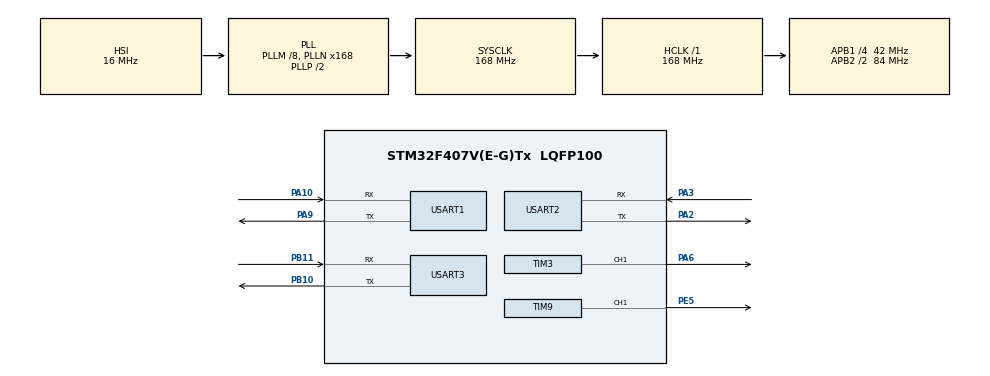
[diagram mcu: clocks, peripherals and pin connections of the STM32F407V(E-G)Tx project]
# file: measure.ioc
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Mcu.Family=STM32F4
Mcu.Name=STM32F407V(E-G)Tx
Mcu.Package=LQFP100
NVIC.PriorityGroup=NVIC_PRIORITYGROUP_2
NVIC.TIM1_UP_TIM10_IRQn=true\:3\:0\:true\:false\:true\:true\:true
NVIC.USART1_IRQn=true\:1\:0\:true\:false\:true\:true\:true
NVIC.USART2_IRQn=true\:2\:0\:true\:false\:true\:true\:true
PA10.Mode=Asynchronous
PA10.Signal=USART1_RX
PA2.Mode=Asynchronous
PA2.Signal=USART2_TX
PA3.Mode=Asynchronous
PA3.Signal=USART2_RX
PA6.Signal=S_TIM3_CH1
PA9.Mode=Asynchronous
PA9.Signal=USART1_TX
PB10.Mode=Asynchronous
PB10.Signal=USART3_TX
PB11.Mode=Asynchronous
PB11.Signal=USART3_RX
PE5.Signal=S_TIM9_CH1
PH0-OSC_IN.Mode=HSE-External-Oscillator
PH0-OSC_IN.Signal=RCC_OSC_IN
PH1-OSC_OUT.Mode=HSE-External-Oscillator
PH1-OSC_OUT.Signal=RCC_OSC_OUT
ProjectManager.HeapSize=0x200
ProjectManager.StackSize=0x400
ProjectManager.TargetToolchain=MDK-ARM V5.27
RCC.48MHZClocksFreq_Value=84000000
RCC.AHBFreq_Value=168000000
RCC.APB1CLKDivider=RCC_HCLK_DIV4
RCC.APB1Freq_Value=42000000
RCC.APB1TimFreq_Value=84000000
RCC.APB2CLKDivider=RCC_HCLK_DIV2
RCC.APB2Freq_Value=84000000
RCC.APB2TimFreq_Value=168000000
RCC.CortexFreq_Value=168000000
RCC.HCLKFreq_Value=168000000
RCC.HSE_VALUE=25000000
RCC.HSI_VALUE=16000000
RCC.LSE_VALUE=32768
RCC.PLLM=8
RCC.PLLN=168
RCC.SYSCLKFreq_VALUE=168000000
RCC.SYSCLKSource=RCC_SYSCLKSOURCE_PLLCLK
RCC.VCOOutputFreq_Value=336000000
SH.S_TIM3_CH1.0=TIM3_CH1,PWM Generation1 CH1
SH.S_TIM9_CH1.0=TIM9_CH1,PWM Generation1 CH1
TIM1.AutoReloadPreload=TIM_AUTORELOAD_PRELOAD_ENABLE
TIM1.Period=10000
TIM1.Prescaler=168-1
TIM3.AutoReloadPreload=TIM_AUTORELOAD_PRELOAD_ENABLE
TIM3.Channel-PWM\ Generation1\ CH1=TIM_CHANNEL_1
TIM3.Period=10000-1
TIM3.Prescaler=84-1
TIM9.AutoReloadPreload=TIM_AUTORELOAD_PRELOAD_ENABLE
TIM9.Channel-PWM\ Generation1\ CH1=TIM_CHANNEL_1
TIM9.Period=10000-1
TIM9.Prescaler=168-1
USART1.VirtualMode=VM_ASYNC
USART2.VirtualMode=VM_ASYNC
USART3.VirtualMode=VM_ASYNC
VP_TIM1_VS_ClockSourceINT.Mode=Internal
VP_TIM3_VS_ClockSourceINT.Mode=Internal
VP_TIM9_VS_ClockSourceINT.Mode=Internal
board=custom

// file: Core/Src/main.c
/* USER CODE BEGIN Header */
/**
  ******************************************************************************
  * @file           : main.c
  * @brief          : Main program body
  ******************************************************************************
  * @attention
  *
  * <h2><center>&copy; Copyright (c) 2021 STMicroelectronics.
  * All rights reserved.</center></h2>
  *
  * This software component is licensed by ST under BSD 3-Clause license,
  * the "License"; You may not use this file except in compliance with the
  * License. You may obtain a copy of the License at:
  *                        opensource.org/licenses/BSD-3-Clause
  *
  ******************************************************************************
  */
/* USER CODE END Header */
#include "main.h"
#include "tim.h"
#include "usart.h"
#include "gpio.h"

/* USER CODE BEGIN Includes */
#include "servo.h"
/* USER CODE END Includes */

/* USER CODE BEGIN PV */
uint8_t UART1_RxBuffer, UART2_RxBuffer;
uint8_t buffer1[9] = "\0", buffer2[10] = "\0";
uint8_t Target_Flag = 0;
uint8_t Real_x, Real_y;
uint8_t color;
uint8_t length;
uint8_t shape;
uint8_t end[3]= {0xff,0xff,0xff};
uint16_t dist;
/* USER CODE END PV */

void SystemClock_Config(void);

/* USER CODE BEGIN 0 */
/**
  * @brief  串口发送函数
  * @retval None
  */
#include "stdio.h"
#include "stdarg.h"
#include "string.h"

#define    TXBUF_SIZE_MAX    100

void uartx_printf(UART_HandleTypeDef huartx, const char *format, ...)
{
    va_list args;
    uint32_t length;
    uint8_t txbuf[TXBUF_SIZE_MAX] = {0};

    va_start(args, format);
    length = vsnprintf((char *)txbuf, sizeof(txbuf), (char *)format, args);
    va_end(args);
    HAL_UART_Transmit(&huartx, (uint8_t *)txbuf, length, HAL_MAX_DELAY);
    memset(txbuf, 0, TXBUF_SIZE_MAX);
};
/* USER CODE END 0 */

int main(void)
{

  /* MCU Configuration--------------------------------------------------------*/

  /* Reset of all peripherals, Initializes the Flash interface and the Systick. */
  HAL_Init();

  /* Configure the system clock */
  SystemClock_Config();

  /* Initialize all configured peripherals */
  MX_GPIO_Init();
  MX_TIM3_Init();
  MX_TIM9_Init();
  MX_USART1_UART_Init();
  MX_USART2_UART_Init();
  MX_TIM1_Init();
  MX_USART3_UART_Init();
  /* USER CODE BEGIN 2 */
  HAL_TIM_Base_Start_IT(&htim1); //开启定时器中断
  HAL_TIM_PWM_Start(&htim3, TIM_CHANNEL_1); //开启pwm
  HAL_TIM_PWM_Start(&htim9, TIM_CHANNEL_1); //开启pwm
  HAL_UART_Receive_IT(&huart1, (uint8_t*)&UART1_RxBuffer, 1); //开启串口中断,用于openmv
  HAL_UART_Receive_IT(&huart2, (uint8_t*)&UART2_RxBuffer, 1); //开启串口2中断用于激光测距

  PID_Init();
  Servo_Init(); //云台初始化，两自由度均为90°
  PID_Init(); //PID初始化
  /* USER CODE END 2 */

  /* Infinite loop */
  /* USER CODE BEGIN WHILE */
  while (1)
  {

//    if(Target_Flag){
//      Tim_SetPWM(3, 1, positionx_pid.output);
//      Tim_SetPWM(9, 1, positiony_pid.output);
//    }
    //DBG("hello!");
    //DBG("shape:%d length:%d color:%d x:%d y:%d", shape, length, color, Real_x, Real_y);
      uartx_printf(huart2, "t2.txt=\"%d\"", dist);
      HAL_UART_Transmit(&huart2,end,3,0xffff);
      uartx_printf(huart2, "t7.txt=\"%d\"", shape);
      HAL_UART_Transmit(&huart2,end,3,0xffff);
      uartx_printf(huart2, "t8.txt=\"%d\"", length);
      HAL_UART_Transmit(&huart2,end,3,0xffff);
      uartx_printf(huart3, "hellworld\r\n");

//    HAL_Delay(1000);
//    Tim_SetPWM(3, 1, 2340);
//    Tim_SetPWM(9, 1, 1500);
    /* USER CODE END WHILE */

  }
}

void SystemClock_Config(void)
{
  RCC_OscInitTypeDef RCC_OscInitStruct = {0};
  RCC_ClkInitTypeDef RCC_ClkInitStruct = {0};

  /** Configure the main internal regulator output voltage
  */
  __HAL_RCC_PWR_CLK_ENABLE();
  __HAL_PWR_VOLTAGESCALING_CONFIG(PWR_REGULATOR_VOLTAGE_SCALE1);
  /** Initializes the RCC Oscillators according to the specified parameters
  * in the RCC_OscInitTypeDef structure.
  */
  RCC_OscInitStruct.OscillatorType = RCC_OSCILLATORTYPE_HSI;
  RCC_OscInitStruct.HSIState = RCC_HSI_ON;
  RCC_OscInitStruct.HSICalibrationValue = RCC_HSICALIBRATION_DEFAULT;
  RCC_OscInitStruct.PLL.PLLState = RCC_PLL_ON;
  RCC_OscInitStruct.PLL.PLLSource = RCC_PLLSOURCE_HSI;
  RCC_OscInitStruct.PLL.PLLM = 8;
  RCC_OscInitStruct.PLL.PLLN = 168;
  RCC_OscInitStruct.PLL.PLLP = RCC_PLLP_DIV2;
  RCC_OscInitStruct.PLL.PLLQ = 4;
  if (HAL_RCC_OscConfig(&RCC_OscInitStruct) != HAL_OK)
  {
    Error_Handler();
  }
  /** Initializes the CPU, AHB and APB buses clocks
  */
  RCC_ClkInitStruct.ClockType = RCC_CLOCKTYPE_HCLK|RCC_CLOCKTYPE_SYSCLK
                              |RCC_CLOCKTYPE_PCLK1|RCC_CLOCKTYPE_PCLK2;
  RCC_ClkInitStruct.SYSCLKSource = RCC_SYSCLKSOURCE_PLLCLK;
  RCC_ClkInitStruct.AHBCLKDivider = RCC_SYSCLK_DIV1;
  RCC_ClkInitStruct.APB1CLKDivider = RCC_HCLK_DIV4;
  RCC_ClkInitStruct.APB2CLKDivider = RCC_HCLK_DIV2;

  if (HAL_RCC_ClockConfig(&RCC_ClkInitStruct, FLASH_LATENCY_5) != HAL_OK)
  {
    Error_Handler();
  }
}

/* USER CODE BEGIN 4 */

void HAL_UART_RxCpltCallback(UART_HandleTypeDef *huart)
{
  static uint8_t count = 0;
  static uint8_t count1 = 0;
  __HAL_UART_CLEAR_PEFLAG(huart);
  if(huart -> Instance == huart1.Instance) //如果是串口1
  {
   // DBG("hello!");
      if((count == 0) && (UART1_RxBuffer == 0xff))
      {
        count = 1;
        buffer1[0] = UART1_RxBuffer;
      }
      else if(count == 1)
      {
        buffer1[1] = UART1_RxBuffer;
        if(UART1_RxBuffer == 0) //没有检测到目标
          Target_Flag = 0;
        else
        {
          count = 2;               //有才加1
          Target_Flag = 1;
        }
      }
      else if(count == 2)
      {
        buffer1[2] = UART1_RxBuffer;
        count = 3;
      }
      else if(count == 3)
      {
          buffer1[3] = UART1_RxBuffer;
          count = 4;
      }
      else if(count == 4)
      {
          buffer1[4] = UART1_RxBuffer;
          count = 5;
      }
      else if(count == 5)
      {
          buffer1[5] = UART1_RxBuffer;
          count = 6;
      }
      else if(count == 6)
      {
          buffer1[6] = UART1_RxBuffer;
          count = 7;
      }
      else if((count == 7) && (UART1_RxBuffer == 0xfe))
      {
          count = 0;
          buffer1[7] = UART1_RxBuffer;
          Real_x = buffer1[2];
          Real_y = buffer1[3];
          color = buffer1[6];
          length = buffer1[4]<<8 | buffer1[5]; //物体边长的像素长度
          Target_Flag = 1;
          shape = buffer1[1];
          //HAL_UART_Transmit(&huart2, buffer1, 7, HAL_MAX_DELAY);
      }
      else{
         count = 0;
         Target_Flag =0;
      }
//        //加个数据处理
     //uartx_printf(huart2, "%x %x %x %x %x\r\n", 0xff, Real_x, Real_y, buffer1[5], 0xfe);
      HAL_UART_Receive_IT(&huart1, (uint8_t*)&UART1_RxBuffer, 1); //重新开启中断
   }
   uartx_printf(huart3, "here\r\n");

  /*串口2中断用于接收激光测距值*/
   if(huart -> Instance == huart2.Instance)
   {
     uartx_printf(huart3, "there\r\n");
     if(count1 == 0 && UART2_RxBuffer == 0x59)
     {
       count1 = 1;
       buffer2[0] = UART2_RxBuffer;
     }
     else if(count1 == 1 && UART2_RxBuffer == 0x59)
     {
       count1 = 2;
       buffer2[1] = UART2_RxBuffer;
     }
    else if(count1 == 2)
    {
       count1 = 3;
       buffer2[2] = UART2_RxBuffer;
    }
    else if(count1 == 3)
    {
       buffer2[3] = UART2_RxBuffer;
       count1 = 0;
       dist = buffer2[3]<<8 | buffer2[2];
    }
    else
       count1 = 0;
  }
  HAL_UART_Receive_IT(&huart1, (uint8_t*)&UART1_RxBuffer, 1); //重新开启中断
  HAL_UART_Receive_IT(&huart2, (uint8_t*)&UART2_RxBuffer, 1);
}

/**
  * @brief  定时器中断函数
  * @claim  10ms为周期
  */
void HAL_TIM_PeriodElapsedCallback(TIM_HandleTypeDef *htim) {
   //频率100Hz
  //DBG("have received successfully!\r\n");
  //DBG("have received successfully!\r\n");
//  uint32_t output_temp;
  if (htim->Instance == htim1.Instance){
    positionx_pid.measured_value =  Real_x;
    positionx_pid.error          =  positionx_pid.measured_value - positionx_pid.set_value;
    positionx_pid.integral       =  positionx_pid.integral + positionx_pid.error * 0.01; //dt为采样频率
    positionx_pid.derival        =  (positionx_pid.error - positionx_pid.passive_error) / 0.01; //dt为采样频率（用定时器中断）
    positionx_pid.output         =  current_pulses_x - (positionx_pid.kp * positionx_pid.error + positionx_pid.ki * positionx_pid.integral + positionx_pid.kd * positionx_pid.derival);

    //    positionx_pid.output         =  output_temp > 1500 ? 1500 : output_temp;
//    positionx_pid.output         =  output_temp <  500 ?  500 : output_temp;
    positionx_pid.passive_error  =  positionx_pid.error;
    //DBG("have received successfully!\r\n");
    positiony_pid.measured_value =  Real_y;
    positiony_pid.error          =  positiony_pid.measured_value - positiony_pid.set_value;
    positiony_pid.integral       =  positiony_pid.integral + positiony_pid.error * 0.01; //dt为采样频率
    positiony_pid.derival        =  (positiony_pid.error - positiony_pid.passive_error) / 0.01; //dt为采样频率（用定时器中断）
    positiony_pid.output         =  current_pulses_y - (positiony_pid.kp * positiony_pid.error + positiony_pid.ki * positiony_pid.integral + positiony_pid.kd * positiony_pid.derival) ;

    //    positionx_pid.output         =  output_temp > 1500 ? 1500 : output_temp;
//    positionx_pid.output         =  output_temp <  500 ?  500 : output_temp;
    positiony_pid.passive_error  =  positiony_pid.error;
  }
}
/* USER CODE END 4 */

void Error_Handler(void)
{
}

/************************ (C) COPYRIGHT STMicroelectronics *****END OF FILE****/
